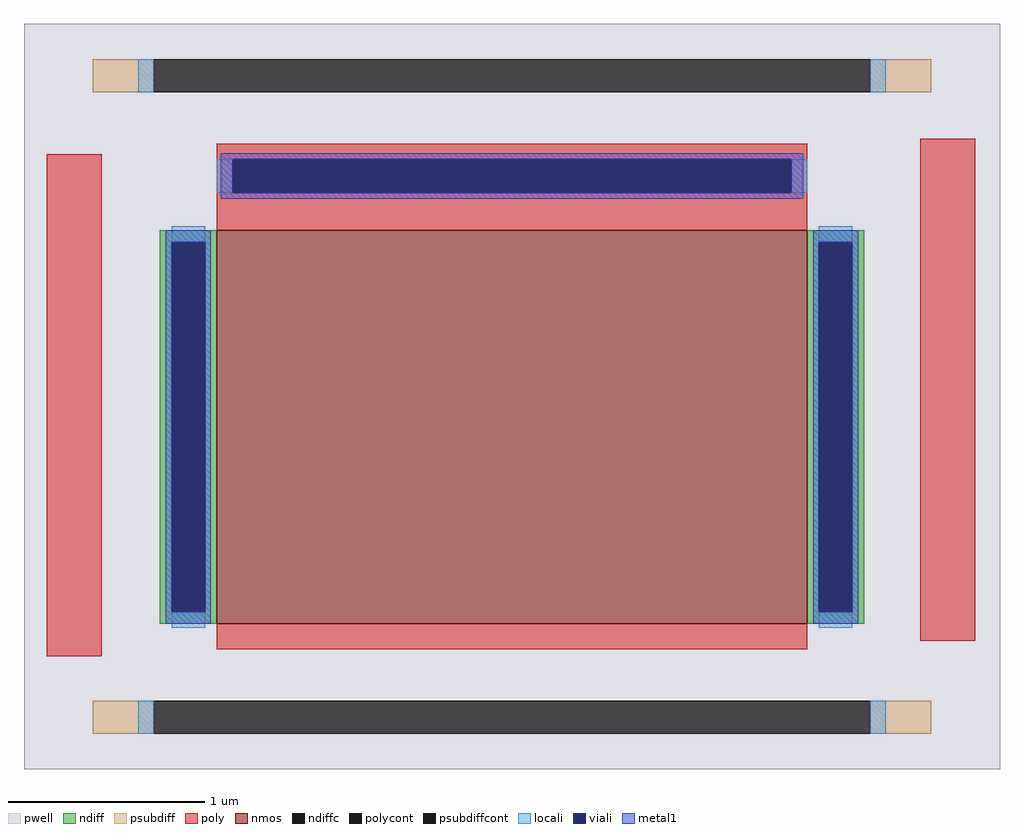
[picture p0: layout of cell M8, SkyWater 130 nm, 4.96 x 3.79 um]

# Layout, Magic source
magic
tech sky130B
magscale 1 2
<< pwell >>
rect -496 -379 496 379
<< nmos >>
rect -300 -231 300 169
<< ndiff >>
rect -358 157 -300 169
rect -358 -219 -346 157
rect -312 -219 -300 157
rect -358 -231 -300 -219
rect 300 157 358 169
rect 300 -219 312 157
rect 346 -219 358 157
rect 300 -231 358 -219
<< ndiffc >>
rect -346 -219 -312 157
rect 312 -219 346 157
<< psubdiff >>
rect -426 309 -364 343
rect 364 309 426 343
rect -426 -343 -364 -309
rect 364 -343 426 -309
<< psubdiffcont >>
rect -364 309 364 343
rect -364 -343 364 -309
<< poly >>
rect -473 -264 -417 246
rect -300 241 300 257
rect -300 207 -284 241
rect 284 207 300 241
rect -300 169 300 207
rect -300 -257 300 -231
rect 415 -248 471 262
<< polycont >>
rect -284 207 284 241
<< locali >>
rect -380 309 -364 343
rect 364 309 380 343
rect -300 207 -284 241
rect 284 207 300 241
rect -346 157 -312 173
rect -346 -235 -312 -219
rect 312 157 346 173
rect 312 -235 346 -219
rect -380 -343 -364 -309
rect 364 -343 380 -309
<< viali >>
rect -284 207 284 241
rect -346 -219 -312 157
rect 312 -219 346 157
<< metal1 >>
rect -296 241 296 247
rect -296 207 -284 241
rect 284 207 296 241
rect -296 201 296 207
rect -352 157 -306 169
rect -352 -219 -346 157
rect -312 -219 -306 157
rect -352 -231 -306 -219
rect 306 157 352 169
rect 306 -219 312 157
rect 346 -219 352 157
rect 306 -231 352 -219
<< properties >>
string FIXED_BBOX -443 -326 443 326
string gencell sky130_fd_pr__nfet_01v8
string library sky130
string parameters w 2 l 3 m 1 nf 1 diffcov 100 polycov 100 guard 1 glc 0 grc 0 gtc 1 gbc 1 tbcov 100 rlcov 100 topc 1 botc 0 poverlap 0 doverlap 1 lmin 0.15 wmin 0.42 compatible {sky130_fd_pr__nfet_01v8 sky130_fd_pr__nfet_01v8_lvt  sky130_fd_bs_flash__special_sonosfet_star  sky130_fd_pr__nfet_g5v0d10v5 sky130_fd_pr__nfet_05v0_nvt  sky130_fd_pr__nfet_03v3_nvt} full_metal 0 viasrc 100 viadrn 100 viagate 100 viagb 0 viagr 0 viagl 0 viagt 0
<< end >>
